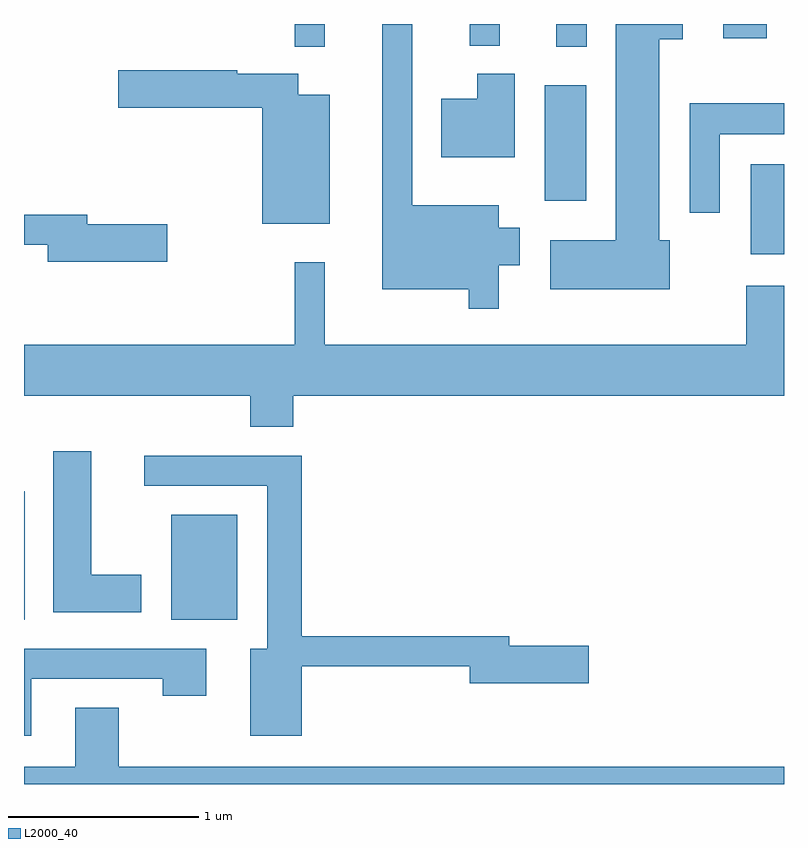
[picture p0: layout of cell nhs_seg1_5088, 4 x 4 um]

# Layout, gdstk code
import gdstk
lib = gdstk.Library(unit=1e-6, precision=1e-09)
def R(c, l, rs):  # rectangles x0, y0, x1, y1
    for r in rs: c.add(gdstk.rectangle(r[:2], r[2:], *l))
def P(c, l, *ps):  # polygons
    for p in ps: c.add(gdstk.Polygon(p, *l))
L2000_40 = (2000, 40)

nhs_seg1_5088 = lib.new_cell('nhs_seg1_5088')
R(nhs_seg1_5088, L2000_40, [(337.611,940.576,337.614,941.254), (338.386,940.576,338.734,941.129), (341.436,942.501,341.611,942.974), (340.351,942.781,340.569,943.389), (339.036,943.593,339.194,943.712), (340.411,943.593,340.574,943.712), (339.956,943.598,340.114,943.712), (341.291,943.636,341.519,943.712)])
P(nhs_seg1_5088, L2000_40, [(340.109,942.441),(340.219,942.441),(340.219,942.639),(340.109,942.639),(340.109,942.759),(339.654,942.759),(339.654,943.712),(339.496,943.712),(339.496,942.316),(339.951,942.316),(339.951,942.213),(340.109,942.213)],
  [(341.009,942.574),(340.954,942.574),(340.954,943.631),(341.078,943.631),(341.078,943.712),(340.726,943.712),(340.726,942.574),(340.381,942.574),(340.381,942.316),(341.009,942.316)],
  [(339.219,943.339),(339.054,943.339),(339.054,943.449),(338.734,943.449),(338.734,943.469),(338.106,943.469),(338.106,943.271),(338.866,943.271),(338.866,942.661),(339.219,942.661)],
  [(340.194,943.449),(339.996,943.449),(339.996,943.319),(339.806,943.319),(339.806,943.011),(340.194,943.011)],
  [(341.274,943.131),(341.611,943.131),(341.611,943.294),(341.116,943.294),(341.116,942.718),(341.274,942.718)],
  [(338.364,942.659),(337.944,942.659),(337.944,942.709),(337.611,942.709),(337.611,942.551),(337.736,942.551),(337.736,942.461),(338.364,942.461)],
  [(339.029,941.756),(341.611,941.756),(341.611,942.334),(341.411,942.334),(341.411,942.024),(339.194,942.024),(339.194,942.458),(339.036,942.458),(339.036,942.024),(337.611,942.024),(337.611,941.756),(338.801,941.756),(338.801,941.591),(339.029,941.591)],
  [(338.229,940.814),(337.964,940.814),(337.964,941.464),(337.766,941.464),(337.766,940.616),(338.229,940.616)],
  [(339.074,940.331),(339.956,940.331),(339.956,940.241),(340.584,940.241),(340.584,940.439),(340.164,940.439),(340.164,940.489),(339.074,940.489),(339.074,941.439),(338.243,941.439),(338.243,941.281),(338.891,941.281),(338.891,940.424),(338.801,940.424),(338.801,939.966),(339.074,939.966)],
  [(337.649,940.266),(338.341,940.266),(338.341,940.176),(338.569,940.176),(338.569,940.424),(337.611,940.424),(337.611,939.966),(337.649,939.966)],
  [(341.611,939.804),(338.109,939.804),(338.109,940.114),(337.881,940.114),(337.881,939.804),(337.611,939.804),(337.611,939.712),(341.611,939.712)])

lib.write_gds('nhs_seg1_5088.gds')
